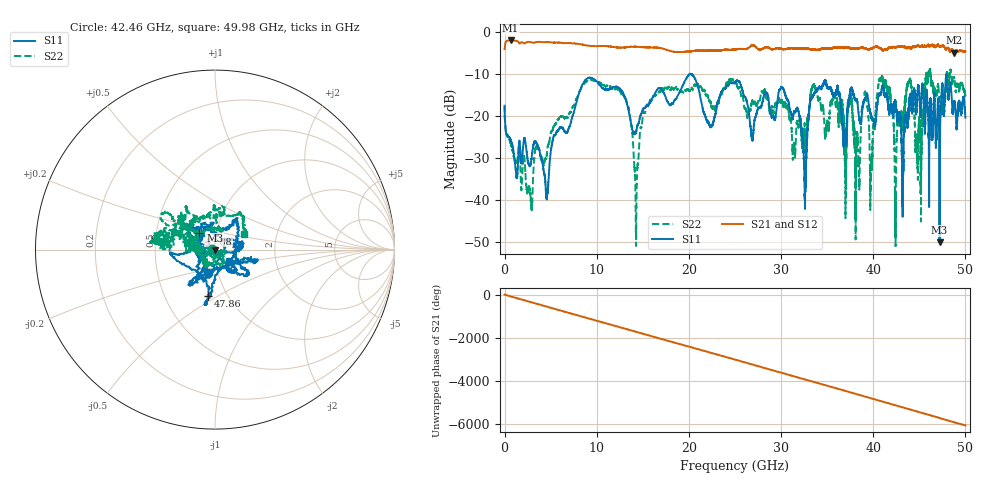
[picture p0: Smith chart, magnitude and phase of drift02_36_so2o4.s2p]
!Created with skrf (http://scikit-rf.org).
# Hz S RI R 50.0
!freq ReS11 ImS11 ReS21 ImS21 ReS12 ImS12 ReS22 ImS22
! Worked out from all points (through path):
!   10001 points, 300 kHz to 50 GHz, reference 50 ohm
!   highest |S21| = -1.99 dB at 645.3 MHz (marker M1); lowest = -4.9 dB at 48.76 GHz (marker M2)
!   group delay of S21, straight-line fit = 337 ps
!   lowest |S11| = -50.1 dB at 47.2 GHz (marker M3), VSWR 1.01, Z = 49.9 - j0.301 ohm
!   |S11| at or under -10 dB: start of sweep to 20.06 GHz; 20.20742 GHz to 20.22006 GHz (12.64 MHz wide, 0.0625 % of centre); 20.24 GHz to end of sweep (the widest 3 of 4)
!   |S22| runs from -51.0 to -8.7 dB; largest |S21 - S12| = 0.034
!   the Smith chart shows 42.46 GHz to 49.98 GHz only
!   S11 on the Smith chart (normalised r, x): 42.46 GHz: 0.90, -0.24; 43.88 GHz: 0.82, +0.15; 47.86 GHz: 0.81, -0.45; 49.98 GHz: 1.16, -0.15
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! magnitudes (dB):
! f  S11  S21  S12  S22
! 300 kHz  -17.7  -4.0  -4.0  -17.3
! 645.3 MHz  -25.7  -2.0  -2.0  -26.4
! 4.565 GHz  -39.8  -2.4  -2.4  -29.4
! 8.335 GHz  -13.0  -2.9  -2.9  -13.2
! 13.01 GHz  -15.3  -3.7  -3.7  -15.7
! 14.28 GHz  -23.8  -3.5  -3.5  -48.9
! 16.67 GHz  -13.4  -3.7  -3.7  -14.5
! 25 GHz  -12.1  -4.1  -4.1  -12.1
! 30.18 GHz  -13.3  -4.1  -4.1  -16.6
! 32.56 GHz  -39.1  -4.0  -3.9  -23.9
! 33.34 GHz  -15.7  -4.0  -4.1  -13.5
! 38.29 GHz  -16.9  -3.9  -3.9  -24.3
! 41.67 GHz  -18.4  -3.8  -3.9  -13.1
! 42.46 GHz  -17.3  -3.6  -3.7  -35.9
! 43.88 GHz  -18.0  -3.6  -3.6  -11.7
! 44.99 GHz  -14.6  -3.4  -3.3  -20.5
! 45.91 GHz  -17.9  -3.2  -3.2  -10.8
! 47.2 GHz  -50.1  -3.5  -3.5  -17.2
! 47.86 GHz  -11.7  -4.2  -4.1  -13.5
! 48.76 GHz  -17.0  -4.9  -4.8  -10.7
! 49.98 GHz  -19.8  -4.6  -4.5  -14.9
! 50 GHz  -20.4  -4.6  -4.6  -15.0
